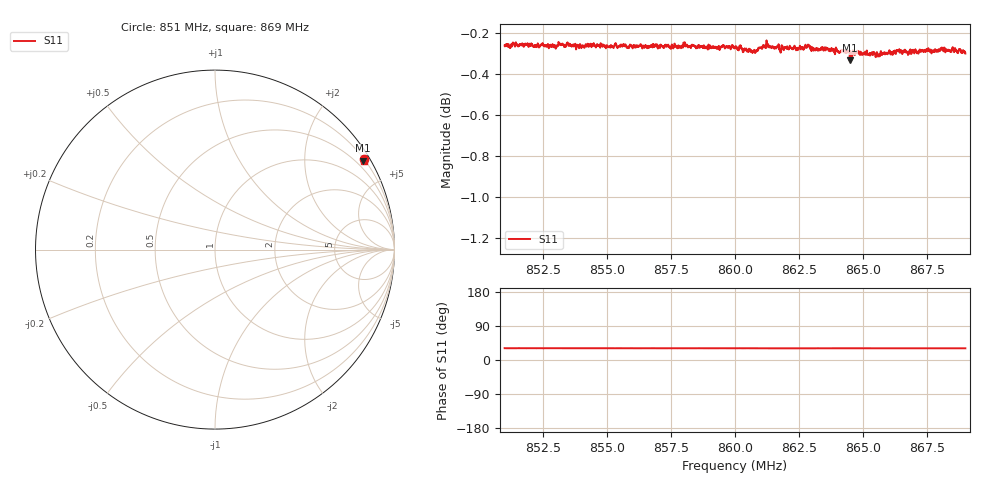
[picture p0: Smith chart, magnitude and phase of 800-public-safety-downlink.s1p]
! Calibrated averaged scanner-service zoom
# Hz S RI R 50
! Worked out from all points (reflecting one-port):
!   2001 points, 851 MHz to 869 MHz, reference 50 ohm
!   lowest |S11| = -0.3 dB at 864.48 MHz (marker M1), VSWR 51.87, Z = 13.4 + j179 ohm
!   phase of S11 starts at 31 deg and turns -0 deg over the sweep
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8.51e8  0.8299 0.5027
8.51405e8  0.8308 0.5001
8.52971e8  0.8298 0.5019
8.5325e8  0.832 0.5006
8.555e8  0.8314 0.4998
8.5775e8  0.8308 0.4989
8.58029e8  0.8314 0.4998
8.59352e8  0.8305 0.499
8.6e8  0.8314 0.4982
8.60504e8  0.8291 0.4975
8.60729e8  0.8301 0.4969
8.61161e8  0.8329 0.4969
8.6171e8  0.8336 0.497
8.61953e8  0.8314 0.4985
8.6225e8  0.8307 0.4986
8.62466e8  0.8309 0.498
8.62808e8  0.8316 0.4979
8.64482e8  0.8249 0.4953
8.645e8  0.8303 0.4964
8.65373e8  0.83 0.4938
8.6558e8  0.8285 0.494
8.65778e8  0.8307 0.4935
8.66408e8  0.8322 0.4939
8.6675e8  0.8313 0.4925
8.67506e8  0.8312 0.4958
8.68118e8  0.8322 0.4963
8.68847e8  0.8319 0.4932
8.69e8  0.8292 0.4954
